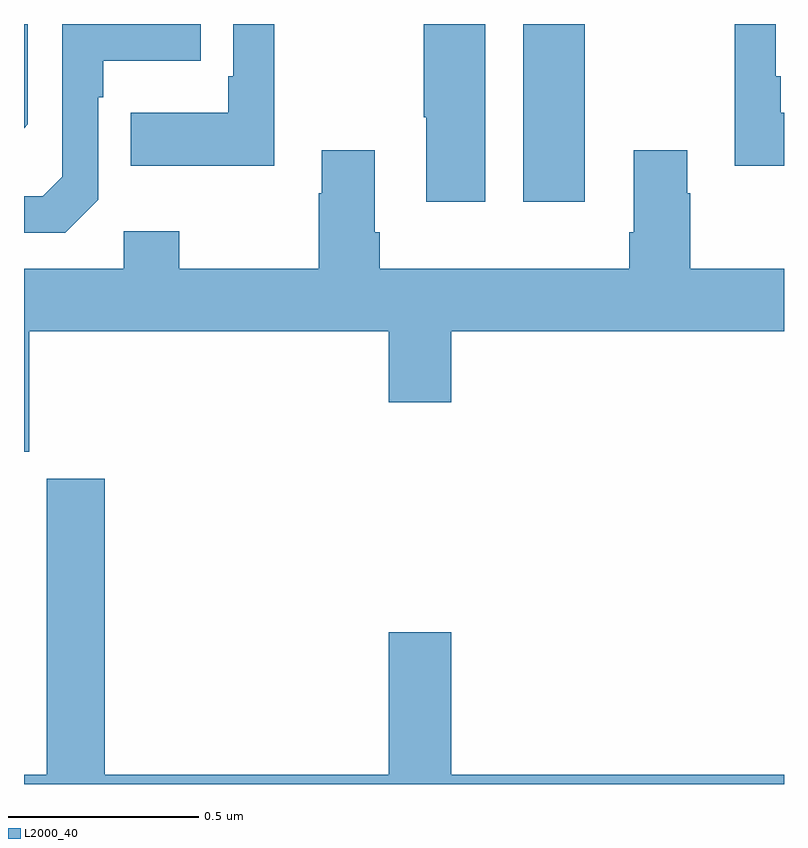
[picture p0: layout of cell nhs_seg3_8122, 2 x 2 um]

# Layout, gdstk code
import gdstk
lib = gdstk.Library(unit=1e-6, precision=1e-09)
def R(c, l, rs):  # rectangles x0, y0, x1, y1
    for r in rs: c.add(gdstk.rectangle(r[:2], r[2:], *l))
def P(c, l, *ps):  # polygons
    for p in ps: c.add(gdstk.Polygon(p, *l))
L2000_40 = (2000, 40)

nhs_seg3_8122 = lib.new_cell('nhs_seg3_8122')
R(nhs_seg3_8122, L2000_40, [(213.314,691.932,213.475,692.4)])
P(nhs_seg3_8122, L2000_40, [(214,692.167),(213.991,692.167),(213.991,692.263),(213.978,692.263),(213.978,692.4),(213.87,692.4),(213.87,692.027),(214,692.027)],
  [(212.659,692.4),(212.55,692.4),(212.55,692.263),(212.538,692.263),(212.538,692.167),(212.281,692.167),(212.281,692.027),(212.659,692.027)],
  [(213.214,692.4),(213.052,692.4),(213.052,692.155),(213.059,692.155),(213.059,691.932),(213.214,691.932)],
  [(212.01,692.136),(212.01,692.4),(212,692.4),(212,692.126)],
  [(212.196,691.938),(212.196,692.207),(212.209,692.207),(212.209,692.303),(212.465,692.303),(212.465,692.4),(212.1,692.4),(212.1,691.998),(212.049,691.947),(212,691.947),(212,691.851),(212.109,691.851)],
  [(212.014,691.592),(212.96,691.592),(212.96,691.404),(213.124,691.404),(213.124,691.592),(214,691.592),(214,691.756),(213.753,691.756),(213.753,691.955),(213.745,691.955),(213.745,692.068),(213.605,692.068),(213.605,691.852),(213.593,691.852),(213.593,691.756),(212.936,691.756),(212.936,691.852),(212.923,691.852),(212.923,692.068),(212.783,692.068),(212.783,691.955),(212.776,691.955),(212.776,691.756),(212.409,691.756),(212.409,691.855),(212.262,691.855),(212.262,691.756),(212,691.756),(212,691.275),(212.014,691.275)],
  [(214,690.424),(213.124,690.424),(213.124,690.799),(212.96,690.799),(212.96,690.424),(212.213,690.424),(212.213,691.203),(212.06,691.203),(212.06,690.424),(212,690.424),(212,690.4),(214,690.4)])

lib.write_gds('nhs_seg3_8122.gds')
